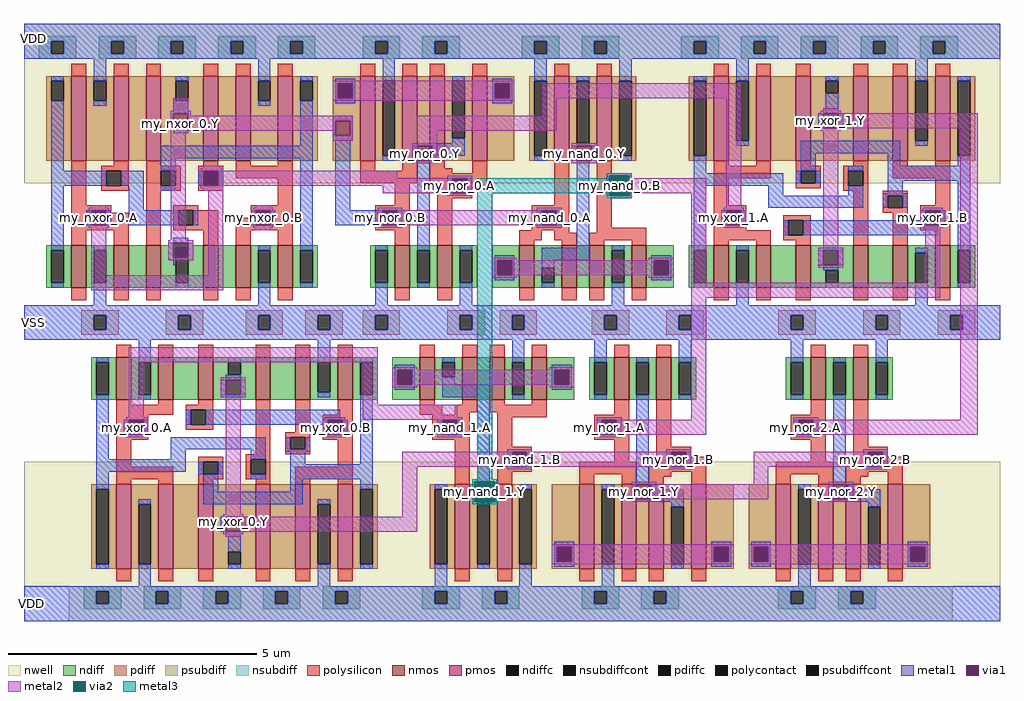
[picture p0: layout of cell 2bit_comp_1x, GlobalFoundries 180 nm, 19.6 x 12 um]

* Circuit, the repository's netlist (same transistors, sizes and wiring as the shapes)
* NGSPICE file created from 2bit_comp_1x.ext - technology: gf180mcuD

.subckt x2bit_comp_1x VDD VSS B0 A0 B1 A1 L G E
X0 my_xor_0.Y a_700_n970# a_600_n920# VDD pfet_03v3 ad=0.7225p pd=2.55u as=0.425p ps=2.2u w=1.7u l=0.3u
X1 a_2910_n920# E G VDD pfet_03v3 ad=0.935p pd=4.5u as=0.4675p ps=2.25u w=1.7u l=0.3u
X2 VDD my_nxor_0.Y a_1240_720# VDD pfet_03v3 ad=0.4675p pd=2.25u as=0.935p ps=4.5u w=1.7u l=0.3u
X3 my_nand_0.Y my_nxor_0.Y a_1880_210# VSS nfet_03v3 ad=0.23375p pd=1.4u as=0.4675p ps=2.8u w=0.85u l=0.3u
X4 VSS a_3100_610# a_3390_210# VSS nfet_03v3 ad=0.23375p pd=1.4u as=0.2125p ps=1.35u w=0.85u l=0.3u
X5 VDD my_nand_0.B my_nand_0.Y VDD pfet_03v3 ad=0.85p pd=4.4u as=0.4675p ps=2.25u w=1.7u l=0.3u
X6 a_3390_720# a_2670_210# L VDD pfet_03v3 ad=0.425p pd=2.2u as=0.7225p ps=2.55u w=1.7u l=0.3u
X7 a_3000_210# my_nor_0.Y VSS VSS nfet_03v3 ad=0.2125p pd=1.35u as=0.23375p ps=1.4u w=0.85u l=0.3u
X8 VDD my_xor_0.Y my_nand_0.B VDD pfet_03v3 ad=0.85p pd=4.4u as=0.4675p ps=2.25u w=1.7u l=0.3u
X9 VDD my_nor_0.Y a_2670_210# VDD pfet_03v3 ad=0.4675p pd=2.25u as=0.85p ps=4.4u w=1.7u l=0.3u
X10 VSS a_700_n970# a_990_n240# VSS nfet_03v3 ad=0.23375p pd=1.4u as=0.2125p ps=1.35u w=0.85u l=0.3u
X11 a_3250_n920# L VDD VDD pfet_03v3 ad=0.2125p pd=1.95u as=0.4675p ps=2.25u w=1.7u l=0.3u
X12 a_990_n240# a_270_n920# my_xor_0.Y VSS nfet_03v3 ad=0.2125p pd=1.35u as=0.36125p ps=1.7u w=0.85u l=0.3u
X13 a_1580_720# my_nxor_0.Y VDD VDD pfet_03v3 ad=0.2125p pd=1.95u as=0.4675p ps=2.25u w=1.7u l=0.3u
X14 a_2460_n920# my_nand_0.B VDD VDD pfet_03v3 ad=0.2125p pd=1.95u as=0.4675p ps=2.25u w=1.7u l=0.3u
X15 VDD my_nand_0.B a_3390_720# VDD pfet_03v3 ad=0.4675p pd=2.25u as=0.425p ps=2.2u w=1.7u l=0.3u
X16 a_3100_610# my_nand_0.B VSS VSS nfet_03v3 ad=0.425p pd=2.7u as=0.23375p ps=1.4u w=0.85u l=0.3u
X17 a_3000_720# my_nor_0.Y VDD VDD pfet_03v3 ad=0.425p pd=2.2u as=0.4675p ps=2.25u w=1.7u l=0.3u
X18 L my_nand_0.B a_3000_210# VSS nfet_03v3 ad=0.36125p pd=1.7u as=0.2125p ps=1.35u w=0.85u l=0.3u
X19 VSS A1 a_780_210# VSS nfet_03v3 ad=0.23375p pd=1.4u as=0.14875p ps=1.2u w=0.85u l=0.3u
X20 a_1820_n240# B0 my_nand_0.B VSS nfet_03v3 ad=0.10625p pd=1.1u as=0.23375p ps=1.4u w=0.85u l=0.3u
X21 VSS my_xor_0.Y E VSS nfet_03v3 ad=0.425p pd=2.7u as=0.23375p ps=1.4u w=0.85u l=0.3u
X22 a_600_n920# B0 VDD VDD pfet_03v3 ad=0.425p pd=2.2u as=0.4675p ps=2.25u w=1.7u l=0.3u
X23 a_2120_n920# my_xor_0.Y E VDD pfet_03v3 ad=0.935p pd=4.5u as=0.4675p ps=2.25u w=1.7u l=0.3u
X24 VSS B1 a_90_210# VSS nfet_03v3 ad=0.23375p pd=1.4u as=0.425p ps=2.7u w=0.85u l=0.3u
X25 a_780_210# a_90_210# my_nxor_0.Y VSS nfet_03v3 ad=0.14875p pd=1.2u as=0.37375p ps=1.75u w=0.85u l=0.3u
X26 G E a_3250_n920# VDD pfet_03v3 ad=0.4675p pd=2.25u as=0.2125p ps=1.95u w=1.7u l=0.3u
X27 a_3100_610# my_nand_0.B VDD VDD pfet_03v3 ad=0.85p pd=4.4u as=0.4675p ps=2.25u w=1.7u l=0.3u
X28 VSS my_nand_0.B a_2220_210# VSS nfet_03v3 ad=0.23375p pd=1.4u as=0.10625p ps=1.1u w=0.85u l=0.3u
X29 VSS B0 a_270_n920# VSS nfet_03v3 ad=0.23375p pd=1.4u as=0.425p ps=2.7u w=0.85u l=0.3u
X30 VDD A1 a_780_720# VDD pfet_03v3 ad=0.4675p pd=2.25u as=0.2975p ps=2.05u w=1.7u l=0.3u
X31 L a_3100_610# a_3000_720# VDD pfet_03v3 ad=0.7225p pd=2.55u as=0.425p ps=2.2u w=1.7u l=0.3u
X32 my_nxor_0.Y a_490_160# a_420_210# VSS nfet_03v3 ad=0.37375p pd=1.75u as=0.14875p ps=1.2u w=0.85u l=0.3u
X33 VDD L a_2910_n920# VDD pfet_03v3 ad=0.4675p pd=2.25u as=0.935p ps=4.5u w=1.7u l=0.3u
X34 VDD B1 a_90_210# VDD pfet_03v3 ad=0.4675p pd=2.25u as=0.85p ps=4.4u w=1.7u l=0.3u
X35 a_780_720# B1 my_nxor_0.Y VDD pfet_03v3 ad=0.2975p pd=2.05u as=0.7225p ps=2.55u w=1.7u l=0.3u
X36 a_420_210# B1 VSS VSS nfet_03v3 ad=0.14875p pd=1.2u as=0.23375p ps=1.4u w=0.85u l=0.3u
X37 a_700_n970# A0 VSS VSS nfet_03v3 ad=0.425p pd=2.7u as=0.23375p ps=1.4u w=0.85u l=0.3u
X38 a_1480_n240# my_xor_0.Y VSS VSS nfet_03v3 ad=0.4675p pd=2.8u as=0.23375p ps=1.4u w=0.85u l=0.3u
X39 a_490_160# A1 VSS VSS nfet_03v3 ad=0.425p pd=2.7u as=0.23375p ps=1.4u w=0.85u l=0.3u
X40 my_nor_0.Y my_nxor_0.Y VSS VSS nfet_03v3 ad=0.23375p pd=1.4u as=0.425p ps=2.7u w=0.85u l=0.3u
X41 my_xor_0.Y A0 a_600_n240# VSS nfet_03v3 ad=0.36125p pd=1.7u as=0.2125p ps=1.35u w=0.85u l=0.3u
X42 a_1880_210# my_nand_0.B VSS VSS nfet_03v3 ad=0.4675p pd=2.8u as=0.23375p ps=1.4u w=0.85u l=0.3u
X43 G L VSS VSS nfet_03v3 ad=0.23375p pd=1.4u as=0.425p ps=2.7u w=0.85u l=0.3u
X44 VDD A0 a_990_n920# VDD pfet_03v3 ad=0.4675p pd=2.25u as=0.425p ps=2.2u w=1.7u l=0.3u
X45 my_nxor_0.Y a_490_160# a_420_720# VDD pfet_03v3 ad=0.7225p pd=2.55u as=0.2975p ps=2.05u w=1.7u l=0.3u
X46 a_990_n920# a_270_n920# my_xor_0.Y VDD pfet_03v3 ad=0.425p pd=2.2u as=0.7225p ps=2.55u w=1.7u l=0.3u
X47 my_nor_0.Y B1 a_1580_720# VDD pfet_03v3 ad=0.4675p pd=2.25u as=0.2125p ps=1.95u w=1.7u l=0.3u
X48 my_nand_0.B B0 VDD VDD pfet_03v3 ad=0.4675p pd=2.25u as=0.85p ps=4.4u w=1.7u l=0.3u
X49 E my_xor_0.Y a_2460_n920# VDD pfet_03v3 ad=0.4675p pd=2.25u as=0.2125p ps=1.95u w=1.7u l=0.3u
X50 a_420_720# a_90_210# VDD VDD pfet_03v3 ad=0.2975p pd=2.05u as=0.4675p ps=2.25u w=1.7u l=0.3u
X51 a_490_160# A1 VDD VDD pfet_03v3 ad=0.85p pd=4.4u as=0.4675p ps=2.25u w=1.7u l=0.3u
X52 VSS B1 my_nor_0.Y VSS nfet_03v3 ad=0.425p pd=2.7u as=0.23375p ps=1.4u w=0.85u l=0.3u
X53 VSS my_xor_0.Y a_1820_n240# VSS nfet_03v3 ad=0.23375p pd=1.4u as=0.10625p ps=1.1u w=0.85u l=0.3u
X54 VDD my_nand_0.B a_2120_n920# VDD pfet_03v3 ad=0.4675p pd=2.25u as=0.935p ps=4.5u w=1.7u l=0.3u
X55 a_1240_720# B1 my_nor_0.Y VDD pfet_03v3 ad=0.935p pd=4.5u as=0.4675p ps=2.25u w=1.7u l=0.3u
X56 a_600_n240# B0 VSS VSS nfet_03v3 ad=0.2125p pd=1.35u as=0.23375p ps=1.4u w=0.85u l=0.3u
X57 a_3390_210# a_2670_210# L VSS nfet_03v3 ad=0.2125p pd=1.35u as=0.36125p ps=1.7u w=0.85u l=0.3u
X58 my_nand_0.B B0 a_1480_n240# VSS nfet_03v3 ad=0.23375p pd=1.4u as=0.4675p ps=2.8u w=0.85u l=0.3u
X59 E my_nand_0.B VSS VSS nfet_03v3 ad=0.23375p pd=1.4u as=0.425p ps=2.7u w=0.85u l=0.3u
X60 VDD B0 a_270_n920# VDD pfet_03v3 ad=0.4675p pd=2.25u as=0.85p ps=4.4u w=1.7u l=0.3u
X61 my_nand_0.Y my_nxor_0.Y VDD VDD pfet_03v3 ad=0.4675p pd=2.25u as=0.85p ps=4.4u w=1.7u l=0.3u
X62 VSS my_nor_0.Y a_2670_210# VSS nfet_03v3 ad=0.23375p pd=1.4u as=0.425p ps=2.7u w=0.85u l=0.3u
X63 a_2220_210# my_nxor_0.Y my_nand_0.Y VSS nfet_03v3 ad=0.10625p pd=1.1u as=0.23375p ps=1.4u w=0.85u l=0.3u
X64 VSS E G VSS nfet_03v3 ad=0.425p pd=2.7u as=0.23375p ps=1.4u w=0.85u l=0.3u
X65 a_700_n970# A0 VDD VDD pfet_03v3 ad=0.85p pd=4.4u as=0.4675p ps=2.25u w=1.7u l=0.3u
.ends

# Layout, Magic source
magic
tech gf180mcuD
<< nwell >>
rect 0 63 392 127
rect 0 -99 392 -49
rect 18 -113 373 -99
<< nmos >>
rect 19 21 25 38
rect 36 21 42 38
rect 49 21 55 38
rect 72 21 78 38
rect 85 21 91 38
rect 102 21 108 38
rect 149 21 155 38
rect 166 21 172 38
rect 199 21 205 38
rect 216 21 222 38
rect 227 21 233 38
rect 244 21 250 38
rect 277 21 283 38
rect 294 21 300 38
rect 310 21 316 38
rect 333 21 339 38
rect 349 21 355 38
rect 366 21 372 38
rect 37 -24 43 -7
rect 54 -24 60 -7
rect 70 -24 76 -7
rect 93 -24 99 -7
rect 109 -24 115 -7
rect 126 -24 132 -7
rect 159 -24 165 -7
rect 176 -24 182 -7
rect 187 -24 193 -7
rect 204 -24 210 -7
rect 237 -24 243 -7
rect 254 -24 260 -7
rect 316 -24 322 -7
rect 333 -24 339 -7
<< pmos >>
rect 19 72 25 106
rect 36 72 42 106
rect 49 72 55 106
rect 72 72 78 106
rect 85 72 91 106
rect 102 72 108 106
rect 135 72 141 106
rect 152 72 158 106
rect 163 72 169 106
rect 180 72 186 106
rect 213 72 219 106
rect 230 72 236 106
rect 277 72 283 106
rect 294 72 300 106
rect 310 72 316 106
rect 333 72 339 106
rect 349 72 355 106
rect 366 72 372 106
rect 37 -92 43 -58
rect 54 -92 60 -58
rect 70 -92 76 -58
rect 93 -92 99 -58
rect 109 -92 115 -58
rect 126 -92 132 -58
rect 173 -92 179 -58
rect 190 -92 196 -58
rect 223 -92 229 -58
rect 240 -92 246 -58
rect 251 -92 257 -58
rect 268 -92 274 -58
rect 302 -92 308 -58
rect 319 -92 325 -58
rect 330 -92 336 -58
rect 347 -92 353 -58
<< ndiff >>
rect 58 38 68 39
rect 9 36 19 38
rect 9 23 11 36
rect 16 23 19 36
rect 9 21 19 23
rect 25 36 36 38
rect 25 23 28 36
rect 33 23 36 36
rect 25 21 36 23
rect 42 21 49 38
rect 55 37 72 38
rect 55 23 61 37
rect 66 23 72 37
rect 55 21 72 23
rect 78 21 85 38
rect 91 36 102 38
rect 91 23 94 36
rect 99 23 102 36
rect 91 21 102 23
rect 108 36 118 38
rect 108 23 111 36
rect 116 23 118 36
rect 108 21 118 23
rect 139 36 149 38
rect 139 23 141 36
rect 146 23 149 36
rect 139 21 149 23
rect 155 36 166 38
rect 155 23 158 36
rect 163 23 166 36
rect 155 21 166 23
rect 172 36 182 38
rect 172 23 175 36
rect 180 23 182 36
rect 172 21 182 23
rect 188 32 199 38
rect 188 26 190 32
rect 196 26 199 32
rect 188 21 199 26
rect 205 29 216 38
rect 205 23 208 29
rect 213 23 216 29
rect 205 21 216 23
rect 222 21 227 38
rect 233 36 244 38
rect 233 23 236 36
rect 241 23 244 36
rect 233 21 244 23
rect 250 32 261 38
rect 250 26 253 32
rect 259 26 261 32
rect 250 21 261 26
rect 267 36 277 38
rect 267 23 269 36
rect 274 23 277 36
rect 267 21 277 23
rect 283 36 294 38
rect 283 23 286 36
rect 291 23 294 36
rect 283 21 294 23
rect 300 21 310 38
rect 316 28 333 38
rect 316 23 322 28
rect 327 23 333 28
rect 316 21 333 23
rect 339 21 349 38
rect 355 35 366 38
rect 355 23 358 35
rect 363 23 366 35
rect 355 21 366 23
rect 372 36 382 38
rect 372 23 375 36
rect 380 23 382 36
rect 372 21 382 23
rect 27 -9 37 -7
rect 27 -22 29 -9
rect 34 -22 37 -9
rect 27 -24 37 -22
rect 43 -9 54 -7
rect 43 -22 46 -9
rect 51 -22 54 -9
rect 43 -24 54 -22
rect 60 -24 70 -7
rect 76 -9 93 -7
rect 76 -14 82 -9
rect 87 -14 93 -9
rect 76 -24 93 -14
rect 99 -24 109 -7
rect 115 -9 126 -7
rect 115 -21 118 -9
rect 123 -21 126 -9
rect 115 -24 126 -21
rect 132 -9 142 -7
rect 132 -22 135 -9
rect 140 -22 142 -9
rect 132 -24 142 -22
rect 148 -12 159 -7
rect 148 -18 150 -12
rect 156 -18 159 -12
rect 148 -24 159 -18
rect 165 -9 176 -7
rect 165 -15 168 -9
rect 173 -15 176 -9
rect 165 -24 176 -15
rect 182 -24 187 -7
rect 193 -9 204 -7
rect 193 -22 196 -9
rect 201 -22 204 -9
rect 193 -24 204 -22
rect 210 -12 221 -7
rect 210 -18 213 -12
rect 219 -18 221 -12
rect 210 -24 221 -18
rect 227 -9 237 -7
rect 227 -22 229 -9
rect 234 -22 237 -9
rect 227 -24 237 -22
rect 243 -9 254 -7
rect 243 -22 246 -9
rect 251 -22 254 -9
rect 243 -24 254 -22
rect 260 -9 270 -7
rect 260 -22 263 -9
rect 268 -22 270 -9
rect 260 -24 270 -22
rect 306 -9 316 -7
rect 306 -22 308 -9
rect 313 -22 316 -9
rect 306 -24 316 -22
rect 322 -9 333 -7
rect 322 -22 325 -9
rect 330 -22 333 -9
rect 322 -24 333 -22
rect 339 -9 349 -7
rect 339 -22 342 -9
rect 347 -22 349 -9
rect 339 -24 349 -22
<< pdiff >>
rect 9 104 19 106
rect 9 96 11 104
rect 16 96 19 104
rect 9 72 19 96
rect 25 104 36 106
rect 25 96 28 104
rect 33 96 36 104
rect 25 72 36 96
rect 42 72 49 106
rect 55 104 72 106
rect 55 96 61 104
rect 66 96 72 104
rect 55 72 72 96
rect 78 72 85 106
rect 91 104 102 106
rect 91 96 94 104
rect 99 96 102 104
rect 91 72 102 96
rect 108 104 118 106
rect 108 96 111 104
rect 116 96 118 104
rect 108 72 118 96
rect 124 103 135 106
rect 124 97 126 103
rect 132 97 135 103
rect 124 72 135 97
rect 141 104 152 106
rect 141 74 144 104
rect 149 74 152 104
rect 141 72 152 74
rect 158 72 163 106
rect 169 104 180 106
rect 169 81 172 104
rect 177 81 180 104
rect 169 72 180 81
rect 186 103 197 106
rect 186 97 189 103
rect 195 97 197 103
rect 186 72 197 97
rect 203 104 213 106
rect 203 74 205 104
rect 210 74 213 104
rect 203 72 213 74
rect 219 104 230 106
rect 219 79 222 104
rect 227 79 230 104
rect 219 72 230 79
rect 236 104 246 106
rect 236 74 239 104
rect 244 74 246 104
rect 236 72 246 74
rect 267 104 277 106
rect 267 74 269 104
rect 274 74 277 104
rect 267 72 277 74
rect 283 104 294 106
rect 283 80 286 104
rect 291 80 294 104
rect 283 72 294 80
rect 300 72 310 106
rect 316 104 333 106
rect 316 99 322 104
rect 327 99 333 104
rect 316 72 333 99
rect 339 72 349 106
rect 355 104 366 106
rect 355 80 358 104
rect 363 80 366 104
rect 355 72 366 80
rect 372 104 382 106
rect 372 74 375 104
rect 380 74 382 104
rect 372 72 382 74
rect 27 -60 37 -58
rect 27 -90 29 -60
rect 34 -90 37 -60
rect 27 -92 37 -90
rect 43 -66 54 -58
rect 43 -90 46 -66
rect 51 -90 54 -66
rect 43 -92 54 -90
rect 60 -92 70 -58
rect 76 -85 93 -58
rect 76 -90 82 -85
rect 87 -90 93 -85
rect 76 -92 93 -90
rect 99 -92 109 -58
rect 115 -66 126 -58
rect 115 -90 118 -66
rect 123 -90 126 -66
rect 115 -92 126 -90
rect 132 -60 142 -58
rect 132 -90 135 -60
rect 140 -90 142 -60
rect 132 -92 142 -90
rect 163 -60 173 -58
rect 163 -90 165 -60
rect 170 -90 173 -60
rect 163 -92 173 -90
rect 179 -65 190 -58
rect 179 -90 182 -65
rect 187 -90 190 -65
rect 179 -92 190 -90
rect 196 -60 206 -58
rect 196 -90 199 -60
rect 204 -90 206 -60
rect 196 -92 206 -90
rect 212 -83 223 -58
rect 212 -89 214 -83
rect 220 -89 223 -83
rect 212 -92 223 -89
rect 229 -60 240 -58
rect 229 -90 232 -60
rect 237 -90 240 -60
rect 229 -92 240 -90
rect 246 -92 251 -58
rect 257 -67 268 -58
rect 257 -90 260 -67
rect 265 -90 268 -67
rect 257 -92 268 -90
rect 274 -83 285 -58
rect 274 -89 277 -83
rect 283 -89 285 -83
rect 274 -92 285 -89
rect 291 -83 302 -58
rect 291 -89 293 -83
rect 299 -89 302 -83
rect 291 -92 302 -89
rect 308 -60 319 -58
rect 308 -90 311 -60
rect 316 -90 319 -60
rect 308 -92 319 -90
rect 325 -92 330 -58
rect 336 -67 347 -58
rect 336 -90 339 -67
rect 344 -90 347 -67
rect 336 -92 347 -90
rect 353 -83 364 -58
rect 353 -89 356 -83
rect 362 -89 364 -83
rect 353 -92 364 -89
<< ndiffc >>
rect 11 23 16 36
rect 28 23 33 36
rect 61 23 66 37
rect 94 23 99 36
rect 111 23 116 36
rect 141 23 146 36
rect 158 23 163 36
rect 175 23 180 36
rect 190 26 196 32
rect 208 23 213 29
rect 236 23 241 36
rect 253 26 259 32
rect 269 23 274 36
rect 286 23 291 36
rect 322 23 327 28
rect 358 23 363 35
rect 375 23 380 36
rect 29 -22 34 -9
rect 46 -22 51 -9
rect 82 -14 87 -9
rect 118 -21 123 -9
rect 135 -22 140 -9
rect 150 -18 156 -12
rect 168 -15 173 -9
rect 196 -22 201 -9
rect 213 -18 219 -12
rect 229 -22 234 -9
rect 246 -22 251 -9
rect 263 -22 268 -9
rect 308 -22 313 -9
rect 325 -22 330 -9
rect 342 -22 347 -9
<< pdiffc >>
rect 11 96 16 104
rect 28 96 33 104
rect 61 96 66 104
rect 94 96 99 104
rect 111 96 116 104
rect 126 97 132 103
rect 144 74 149 104
rect 172 81 177 104
rect 189 97 195 103
rect 205 74 210 104
rect 222 79 227 104
rect 239 74 244 104
rect 269 74 274 104
rect 286 80 291 104
rect 322 99 327 104
rect 358 80 363 104
rect 375 74 380 104
rect 29 -90 34 -60
rect 46 -90 51 -66
rect 82 -90 87 -85
rect 118 -90 123 -66
rect 135 -90 140 -60
rect 165 -90 170 -60
rect 182 -90 187 -65
rect 199 -90 204 -60
rect 214 -89 220 -83
rect 232 -90 237 -60
rect 260 -90 265 -67
rect 277 -89 283 -83
rect 293 -89 299 -83
rect 311 -90 316 -60
rect 339 -90 344 -67
rect 356 -89 362 -83
<< psubdiff >>
rect 23 10 38 12
rect 23 4 28 10
rect 33 4 38 10
rect 23 2 38 4
rect 57 10 72 12
rect 57 4 62 10
rect 67 4 72 10
rect 57 2 72 4
rect 89 10 104 12
rect 89 4 94 10
rect 99 4 104 10
rect 89 2 104 4
rect 113 10 128 12
rect 113 4 118 10
rect 123 4 128 10
rect 113 2 128 4
rect 136 10 151 12
rect 136 4 141 10
rect 146 4 151 10
rect 136 2 151 4
rect 170 10 185 12
rect 170 4 175 10
rect 180 4 185 10
rect 170 2 185 4
rect 191 10 206 12
rect 191 4 196 10
rect 201 4 206 10
rect 191 2 206 4
rect 228 10 243 12
rect 228 4 233 10
rect 238 4 243 10
rect 228 2 243 4
rect 258 10 273 12
rect 258 4 263 10
rect 268 4 273 10
rect 258 2 273 4
rect 303 10 318 12
rect 303 4 308 10
rect 313 4 318 10
rect 303 2 318 4
rect 337 10 352 12
rect 337 4 342 10
rect 347 4 352 10
rect 337 2 352 4
rect 367 10 382 12
rect 367 4 372 10
rect 377 4 382 10
rect 367 2 382 4
<< nsubdiff >>
rect 6 120 21 122
rect 6 115 11 120
rect 16 115 21 120
rect 6 113 21 115
rect 30 120 45 122
rect 30 115 35 120
rect 40 115 45 120
rect 30 113 45 115
rect 54 120 69 122
rect 54 115 59 120
rect 64 115 69 120
rect 54 113 69 115
rect 78 120 93 122
rect 78 115 83 120
rect 88 115 93 120
rect 78 113 93 115
rect 102 120 117 122
rect 102 115 107 120
rect 112 115 117 120
rect 102 113 117 115
rect 136 120 151 122
rect 136 115 141 120
rect 146 115 151 120
rect 136 113 151 115
rect 160 120 175 122
rect 160 115 165 120
rect 170 115 175 120
rect 160 113 175 115
rect 200 120 215 122
rect 200 115 205 120
rect 210 115 215 120
rect 200 113 215 115
rect 224 120 239 122
rect 224 115 229 120
rect 234 115 239 120
rect 224 113 239 115
rect 264 120 279 122
rect 264 115 269 120
rect 274 115 279 120
rect 264 113 279 115
rect 288 120 303 122
rect 288 115 293 120
rect 298 115 303 120
rect 288 113 303 115
rect 312 120 327 122
rect 312 115 317 120
rect 322 115 327 120
rect 312 113 327 115
rect 336 120 351 122
rect 336 115 341 120
rect 346 115 351 120
rect 336 113 351 115
rect 360 120 375 122
rect 360 115 365 120
rect 370 115 375 120
rect 360 113 375 115
rect 24 -101 39 -99
rect 24 -106 29 -101
rect 34 -106 39 -101
rect 24 -108 39 -106
rect 48 -101 63 -99
rect 48 -106 53 -101
rect 58 -106 63 -101
rect 48 -108 63 -106
rect 72 -101 87 -99
rect 72 -106 77 -101
rect 82 -106 87 -101
rect 72 -108 87 -106
rect 96 -101 111 -99
rect 96 -106 101 -101
rect 106 -106 111 -101
rect 96 -108 111 -106
rect 120 -101 135 -99
rect 120 -106 125 -101
rect 130 -106 135 -101
rect 120 -108 135 -106
rect 160 -101 175 -99
rect 160 -106 165 -101
rect 170 -106 175 -101
rect 160 -108 175 -106
rect 184 -101 199 -99
rect 184 -106 189 -101
rect 194 -106 199 -101
rect 184 -108 199 -106
rect 224 -101 239 -99
rect 224 -106 229 -101
rect 234 -106 239 -101
rect 224 -108 239 -106
rect 248 -101 263 -99
rect 248 -106 253 -101
rect 258 -106 263 -101
rect 248 -108 263 -106
rect 303 -101 318 -99
rect 303 -106 308 -101
rect 313 -106 318 -101
rect 303 -108 318 -106
rect 327 -101 342 -99
rect 327 -106 332 -101
rect 337 -106 342 -101
rect 327 -108 342 -106
<< psubdiffcont >>
rect 28 4 33 10
rect 62 4 67 10
rect 94 4 99 10
rect 118 4 123 10
rect 141 4 146 10
rect 175 4 180 10
rect 196 4 201 10
rect 233 4 238 10
rect 263 4 268 10
rect 308 4 313 10
rect 342 4 347 10
rect 372 4 377 10
<< nsubdiffcont >>
rect 11 115 16 120
rect 35 115 40 120
rect 59 115 64 120
rect 83 115 88 120
rect 107 115 112 120
rect 141 115 146 120
rect 165 115 170 120
rect 205 115 210 120
rect 229 115 234 120
rect 269 115 274 120
rect 293 115 298 120
rect 317 115 322 120
rect 341 115 346 120
rect 365 115 370 120
rect 29 -106 34 -101
rect 53 -106 58 -101
rect 77 -106 82 -101
rect 101 -106 106 -101
rect 125 -106 130 -101
rect 165 -106 170 -101
rect 189 -106 194 -101
rect 229 -106 234 -101
rect 253 -106 258 -101
rect 308 -106 313 -101
rect 332 -106 337 -101
<< polysilicon >>
rect 19 106 25 111
rect 36 106 42 111
rect 49 106 55 111
rect 72 106 78 111
rect 85 106 91 111
rect 102 106 108 111
rect 135 106 141 111
rect 152 106 158 111
rect 163 106 169 111
rect 180 106 186 111
rect 213 106 219 111
rect 230 106 236 111
rect 277 106 283 111
rect 294 106 300 111
rect 310 106 316 111
rect 333 106 339 111
rect 349 106 355 111
rect 366 106 372 111
rect 19 54 25 72
rect 36 70 42 72
rect 31 68 42 70
rect 31 62 33 68
rect 39 62 42 68
rect 31 60 42 62
rect 49 70 55 72
rect 72 70 78 72
rect 85 70 91 72
rect 102 70 108 72
rect 49 68 63 70
rect 49 62 55 68
rect 61 62 63 68
rect 49 60 63 62
rect 70 68 80 70
rect 70 62 72 68
rect 78 62 80 68
rect 85 65 108 70
rect 70 60 80 62
rect 19 52 35 54
rect 19 46 27 52
rect 33 51 35 52
rect 33 46 42 51
rect 19 44 42 46
rect 19 38 25 44
rect 36 38 42 44
rect 49 38 55 60
rect 102 54 108 65
rect 135 68 141 72
rect 152 68 158 72
rect 135 63 158 68
rect 163 69 169 72
rect 163 67 172 69
rect 180 67 186 72
rect 163 65 186 67
rect 163 63 172 65
rect 149 54 155 63
rect 60 52 70 54
rect 91 52 108 54
rect 60 46 62 52
rect 68 46 78 52
rect 91 49 93 52
rect 60 44 78 46
rect 72 38 78 44
rect 85 46 93 49
rect 99 46 108 52
rect 85 44 108 46
rect 141 52 155 54
rect 141 46 144 52
rect 150 46 155 52
rect 141 44 155 46
rect 85 38 91 44
rect 102 38 108 44
rect 149 38 155 44
rect 166 59 172 63
rect 178 61 186 65
rect 178 59 180 61
rect 166 57 180 59
rect 166 38 172 57
rect 213 54 219 72
rect 204 52 219 54
rect 204 46 208 52
rect 214 46 219 52
rect 204 44 219 46
rect 199 40 208 44
rect 213 43 219 44
rect 230 67 236 72
rect 277 70 283 72
rect 294 70 300 72
rect 230 65 244 67
rect 230 59 236 65
rect 242 59 244 65
rect 230 57 244 59
rect 277 65 300 70
rect 310 70 316 72
rect 333 70 339 72
rect 310 68 320 70
rect 230 45 236 57
rect 277 54 283 65
rect 310 63 312 68
rect 318 63 320 68
rect 310 61 320 63
rect 329 68 339 70
rect 329 62 331 68
rect 337 62 339 68
rect 349 70 355 72
rect 366 70 372 72
rect 349 65 372 70
rect 329 60 339 62
rect 277 52 290 54
rect 277 46 282 52
rect 288 46 290 52
rect 230 43 250 45
rect 213 40 222 43
rect 199 38 205 40
rect 216 38 222 40
rect 227 40 250 43
rect 227 38 233 40
rect 244 38 250 40
rect 277 44 290 46
rect 305 48 316 50
rect 277 40 300 44
rect 305 42 307 48
rect 313 42 316 48
rect 305 40 316 42
rect 277 38 283 40
rect 294 38 300 40
rect 310 38 316 40
rect 333 38 339 60
rect 345 58 355 60
rect 345 53 347 58
rect 353 53 355 58
rect 366 54 372 65
rect 345 51 355 53
rect 349 38 355 51
rect 360 52 372 54
rect 360 46 362 52
rect 368 46 372 52
rect 360 44 372 46
rect 366 38 372 44
rect 19 16 25 21
rect 36 16 42 21
rect 49 16 55 21
rect 72 16 78 21
rect 85 16 91 21
rect 102 16 108 21
rect 149 16 155 21
rect 166 16 172 21
rect 199 16 205 21
rect 216 16 222 21
rect 227 16 233 21
rect 244 16 250 21
rect 277 16 283 21
rect 294 16 300 21
rect 310 16 316 21
rect 333 16 339 21
rect 349 16 355 21
rect 366 16 372 21
rect 37 -7 43 -2
rect 54 -7 60 -2
rect 70 -7 76 -2
rect 93 -7 99 -2
rect 109 -7 115 -2
rect 126 -7 132 -2
rect 159 -7 165 -2
rect 176 -7 182 -2
rect 187 -7 193 -2
rect 204 -7 210 -2
rect 237 -7 243 -2
rect 254 -7 260 -2
rect 316 -7 322 -2
rect 333 -7 339 -2
rect 37 -26 43 -24
rect 54 -26 60 -24
rect 70 -26 76 -24
rect 37 -30 60 -26
rect 65 -28 76 -26
rect 37 -32 50 -30
rect 37 -38 42 -32
rect 48 -38 50 -32
rect 65 -34 67 -28
rect 73 -34 76 -28
rect 65 -36 76 -34
rect 37 -40 50 -38
rect 37 -51 43 -40
rect 93 -46 99 -24
rect 109 -37 115 -24
rect 126 -30 132 -24
rect 159 -26 165 -24
rect 176 -26 182 -24
rect 159 -30 168 -26
rect 173 -29 182 -26
rect 187 -26 193 -24
rect 204 -26 210 -24
rect 187 -29 210 -26
rect 173 -30 179 -29
rect 105 -39 115 -37
rect 105 -44 107 -39
rect 113 -44 115 -39
rect 120 -32 132 -30
rect 120 -38 122 -32
rect 128 -38 132 -32
rect 120 -40 132 -38
rect 164 -32 179 -30
rect 164 -38 168 -32
rect 174 -38 179 -32
rect 164 -40 179 -38
rect 105 -46 115 -44
rect 70 -49 80 -47
rect 37 -56 60 -51
rect 37 -58 43 -56
rect 54 -58 60 -56
rect 70 -54 72 -49
rect 78 -54 80 -49
rect 70 -56 80 -54
rect 89 -48 99 -46
rect 89 -54 91 -48
rect 97 -54 99 -48
rect 126 -51 132 -40
rect 89 -56 99 -54
rect 70 -58 76 -56
rect 93 -58 99 -56
rect 109 -56 132 -51
rect 109 -58 115 -56
rect 126 -58 132 -56
rect 173 -58 179 -40
rect 190 -31 210 -29
rect 237 -30 243 -24
rect 190 -43 196 -31
rect 229 -32 243 -30
rect 229 -38 232 -32
rect 238 -38 243 -32
rect 229 -40 243 -38
rect 190 -45 204 -43
rect 190 -51 196 -45
rect 202 -51 204 -45
rect 237 -49 243 -40
rect 254 -43 260 -24
rect 316 -30 322 -24
rect 308 -32 322 -30
rect 308 -38 311 -32
rect 317 -38 322 -32
rect 308 -40 322 -38
rect 254 -45 268 -43
rect 254 -49 260 -45
rect 190 -53 204 -51
rect 190 -58 196 -53
rect 223 -54 246 -49
rect 223 -58 229 -54
rect 240 -58 246 -54
rect 251 -51 260 -49
rect 266 -47 268 -45
rect 266 -51 274 -47
rect 316 -49 322 -40
rect 333 -43 339 -24
rect 333 -45 347 -43
rect 333 -49 339 -45
rect 251 -53 274 -51
rect 251 -55 260 -53
rect 251 -58 257 -55
rect 268 -58 274 -53
rect 302 -54 325 -49
rect 302 -58 308 -54
rect 319 -58 325 -54
rect 330 -51 339 -49
rect 345 -47 347 -45
rect 345 -51 353 -47
rect 330 -53 353 -51
rect 330 -55 339 -53
rect 330 -58 336 -55
rect 347 -58 353 -53
rect 37 -97 43 -92
rect 54 -97 60 -92
rect 70 -97 76 -92
rect 93 -97 99 -92
rect 109 -97 115 -92
rect 126 -97 132 -92
rect 173 -97 179 -92
rect 190 -97 196 -92
rect 223 -97 229 -92
rect 240 -97 246 -92
rect 251 -97 257 -92
rect 268 -97 274 -92
rect 302 -97 308 -92
rect 319 -97 325 -92
rect 330 -97 336 -92
rect 347 -97 353 -92
<< polycontact >>
rect 33 62 39 68
rect 55 62 61 68
rect 72 62 78 68
rect 27 46 33 52
rect 62 46 68 52
rect 93 46 99 52
rect 144 46 150 52
rect 172 59 178 65
rect 208 46 214 52
rect 236 59 242 65
rect 312 63 318 68
rect 331 62 337 68
rect 282 46 288 52
rect 307 42 313 48
rect 347 53 353 58
rect 362 46 368 52
rect 42 -38 48 -32
rect 67 -34 73 -28
rect 107 -44 113 -39
rect 122 -38 128 -32
rect 168 -38 174 -32
rect 72 -54 78 -49
rect 91 -54 97 -48
rect 232 -38 238 -32
rect 196 -51 202 -45
rect 311 -38 317 -32
rect 260 -51 266 -45
rect 339 -51 345 -45
<< metal1 >>
rect 0 120 392 127
rect 0 115 11 120
rect 16 115 35 120
rect 40 115 59 120
rect 64 115 83 120
rect 88 115 107 120
rect 112 115 141 120
rect 146 115 165 120
rect 170 115 205 120
rect 210 115 229 120
rect 234 115 269 120
rect 274 115 293 120
rect 298 115 317 120
rect 322 115 341 120
rect 346 115 365 120
rect 370 115 392 120
rect 0 113 392 115
rect 11 104 16 106
rect 11 68 16 96
rect 28 104 33 113
rect 61 104 66 106
rect 28 94 33 96
rect 60 96 61 97
rect 60 91 66 96
rect 94 104 99 113
rect 94 94 99 96
rect 111 104 116 106
rect 60 83 66 85
rect 111 78 116 96
rect 125 103 133 105
rect 125 97 126 103
rect 132 97 133 103
rect 125 95 133 97
rect 144 104 149 113
rect 124 88 132 90
rect 124 82 125 88
rect 131 82 132 88
rect 124 80 132 82
rect 55 73 116 78
rect 55 68 61 73
rect 11 62 33 68
rect 39 62 48 68
rect 11 36 16 62
rect 42 52 48 62
rect 70 62 72 68
rect 78 62 80 68
rect 55 60 61 62
rect 25 46 27 52
rect 33 46 35 52
rect 42 46 62 52
rect 68 46 70 52
rect 91 46 93 52
rect 99 46 101 52
rect 60 39 66 41
rect 11 21 16 23
rect 28 36 33 38
rect 60 30 61 33
rect 28 14 33 23
rect 61 21 66 23
rect 94 36 99 38
rect 94 14 99 23
rect 111 36 116 73
rect 125 52 131 80
rect 172 104 177 106
rect 188 103 196 105
rect 188 97 189 103
rect 195 97 196 103
rect 188 95 196 97
rect 205 104 210 113
rect 172 79 177 81
rect 158 78 177 79
rect 144 72 149 74
rect 156 72 158 78
rect 164 74 177 78
rect 222 104 227 106
rect 222 78 227 79
rect 239 104 244 113
rect 164 72 166 74
rect 205 72 210 74
rect 220 72 222 78
rect 228 72 230 78
rect 239 72 244 74
rect 269 104 274 106
rect 286 104 291 113
rect 322 104 327 106
rect 322 93 327 99
rect 321 91 327 93
rect 358 104 363 113
rect 319 85 321 91
rect 327 85 329 91
rect 286 78 291 80
rect 125 46 144 52
rect 150 46 152 52
rect 111 21 116 23
rect 141 36 146 38
rect 141 14 146 23
rect 158 36 163 72
rect 170 59 172 65
rect 178 59 180 65
rect 206 46 208 52
rect 214 46 216 52
rect 158 21 163 23
rect 175 36 180 38
rect 222 37 227 72
rect 269 67 274 74
rect 312 75 352 80
rect 358 78 363 80
rect 375 104 380 106
rect 312 68 318 75
rect 347 70 352 75
rect 375 70 380 74
rect 331 68 337 70
rect 234 59 236 65
rect 242 59 244 65
rect 269 62 305 67
rect 310 63 312 68
rect 318 63 320 68
rect 189 32 197 34
rect 189 26 190 32
rect 196 26 197 32
rect 189 24 197 26
rect 208 32 227 37
rect 236 36 241 38
rect 208 29 213 32
rect 175 14 180 23
rect 208 21 213 23
rect 269 36 274 62
rect 299 58 305 62
rect 331 58 337 62
rect 347 64 380 70
rect 347 59 353 64
rect 299 53 337 58
rect 345 58 355 59
rect 345 53 347 58
rect 353 53 355 58
rect 280 46 282 52
rect 288 46 290 52
rect 360 48 362 52
rect 305 42 307 48
rect 313 46 362 48
rect 368 46 370 52
rect 313 42 367 46
rect 252 32 260 34
rect 252 26 253 32
rect 259 26 260 32
rect 252 24 260 26
rect 236 14 241 23
rect 269 21 274 23
rect 286 36 291 38
rect 321 36 327 37
rect 319 30 321 36
rect 327 30 329 36
rect 358 35 363 37
rect 321 28 327 30
rect 286 14 291 23
rect 322 21 327 23
rect 358 14 363 23
rect 375 36 380 64
rect 375 21 380 23
rect 0 10 392 14
rect 0 4 28 10
rect 33 4 62 10
rect 67 4 94 10
rect 99 4 118 10
rect 123 4 141 10
rect 146 4 175 10
rect 180 4 196 10
rect 201 4 233 10
rect 238 4 263 10
rect 268 4 308 10
rect 313 4 342 10
rect 347 4 372 10
rect 377 4 392 10
rect 0 0 392 4
rect 29 -9 34 -7
rect 29 -48 34 -22
rect 46 -9 51 0
rect 82 -9 87 -7
rect 81 -16 87 -14
rect 118 -9 123 0
rect 79 -22 81 -16
rect 87 -22 89 -16
rect 46 -24 51 -22
rect 81 -23 87 -22
rect 118 -23 123 -21
rect 135 -9 140 -7
rect 168 -9 173 -7
rect 149 -12 157 -10
rect 149 -18 150 -12
rect 156 -18 157 -12
rect 149 -20 157 -18
rect 168 -18 173 -15
rect 196 -9 201 0
rect 40 -38 42 -32
rect 48 -38 50 -32
rect 65 -34 67 -28
rect 73 -32 127 -28
rect 73 -34 122 -32
rect 120 -38 122 -34
rect 128 -38 130 -32
rect 59 -44 97 -39
rect 59 -48 65 -44
rect 29 -53 65 -48
rect 91 -48 97 -44
rect 105 -44 107 -39
rect 113 -44 115 -39
rect 105 -45 115 -44
rect 29 -60 34 -53
rect 70 -54 72 -49
rect 78 -54 80 -49
rect 72 -61 78 -54
rect 91 -56 97 -54
rect 107 -50 113 -45
rect 135 -50 140 -22
rect 168 -23 187 -18
rect 166 -38 168 -32
rect 174 -38 176 -32
rect 107 -56 140 -50
rect 107 -61 112 -56
rect 29 -92 34 -90
rect 46 -66 51 -64
rect 72 -66 112 -61
rect 135 -60 140 -56
rect 182 -58 187 -23
rect 229 -9 234 0
rect 212 -12 220 -10
rect 212 -18 213 -12
rect 219 -18 220 -12
rect 212 -20 220 -18
rect 196 -24 201 -22
rect 229 -24 234 -22
rect 246 -9 251 -7
rect 230 -38 232 -32
rect 238 -38 240 -32
rect 194 -51 196 -45
rect 202 -51 204 -45
rect 246 -58 251 -22
rect 263 -9 268 0
rect 263 -24 268 -22
rect 308 -9 313 0
rect 308 -24 313 -22
rect 325 -9 330 -7
rect 309 -38 311 -32
rect 317 -38 319 -32
rect 258 -51 260 -45
rect 266 -51 268 -45
rect 325 -58 330 -22
rect 342 -9 347 0
rect 342 -24 347 -22
rect 337 -51 339 -45
rect 345 -51 347 -45
rect 118 -66 123 -64
rect 79 -77 81 -71
rect 87 -77 89 -71
rect 81 -79 87 -77
rect 46 -99 51 -90
rect 82 -85 87 -79
rect 82 -92 87 -90
rect 118 -99 123 -90
rect 135 -92 140 -90
rect 165 -60 170 -58
rect 180 -64 182 -58
rect 188 -64 190 -58
rect 199 -60 204 -58
rect 165 -99 170 -90
rect 182 -65 187 -64
rect 182 -92 187 -90
rect 232 -60 237 -58
rect 199 -99 204 -90
rect 213 -83 221 -81
rect 213 -89 214 -83
rect 220 -89 221 -83
rect 213 -91 221 -89
rect 244 -64 246 -58
rect 252 -60 254 -58
rect 311 -60 316 -58
rect 252 -64 265 -60
rect 246 -65 265 -64
rect 232 -99 237 -90
rect 260 -67 265 -65
rect 260 -92 265 -90
rect 276 -83 284 -81
rect 276 -89 277 -83
rect 283 -89 284 -83
rect 276 -91 284 -89
rect 292 -83 300 -81
rect 292 -89 293 -83
rect 299 -89 300 -83
rect 292 -91 300 -89
rect 323 -64 325 -58
rect 331 -60 333 -58
rect 331 -64 344 -60
rect 325 -65 344 -64
rect 311 -99 316 -90
rect 339 -67 344 -65
rect 339 -92 344 -90
rect 355 -83 363 -81
rect 355 -89 356 -83
rect 362 -89 363 -83
rect 355 -91 363 -89
rect 0 -101 392 -99
rect 0 -106 29 -101
rect 34 -106 53 -101
rect 58 -106 77 -101
rect 82 -106 101 -101
rect 106 -106 125 -101
rect 130 -106 165 -101
rect 170 -106 189 -101
rect 194 -106 229 -101
rect 234 -106 253 -101
rect 258 -106 308 -101
rect 313 -106 332 -101
rect 337 -106 392 -101
rect 0 -113 392 -106
<< via1 >>
rect 60 85 66 91
rect 126 97 132 103
rect 125 82 131 88
rect 72 62 78 68
rect 27 46 33 52
rect 93 46 99 52
rect 60 37 66 39
rect 60 33 61 37
rect 61 33 66 37
rect 189 97 195 103
rect 158 72 164 78
rect 222 72 228 78
rect 321 85 327 91
rect 144 46 150 52
rect 172 59 178 65
rect 208 46 214 52
rect 236 59 242 65
rect 190 26 196 32
rect 282 46 288 52
rect 362 46 368 52
rect 253 26 259 32
rect 321 30 327 36
rect 81 -22 87 -16
rect 150 -18 156 -12
rect 42 -38 48 -32
rect 122 -38 128 -32
rect 168 -38 174 -32
rect 213 -18 219 -12
rect 232 -38 238 -32
rect 196 -51 202 -45
rect 311 -38 317 -32
rect 260 -51 266 -45
rect 339 -51 345 -45
rect 81 -77 87 -71
rect 182 -64 188 -58
rect 214 -89 220 -83
rect 246 -64 252 -58
rect 277 -89 283 -83
rect 293 -89 299 -83
rect 325 -64 331 -58
rect 356 -89 362 -83
<< metal2 >>
rect 124 103 197 104
rect 124 97 126 103
rect 132 97 189 103
rect 195 97 197 103
rect 60 92 66 97
rect 124 96 197 97
rect 208 97 288 103
rect 59 91 67 92
rect 59 85 60 91
rect 66 90 67 91
rect 208 90 214 97
rect 66 88 132 90
rect 66 85 125 88
rect 59 84 125 85
rect 59 83 66 84
rect 27 53 33 54
rect 26 52 34 53
rect 26 46 27 52
rect 33 46 34 52
rect 26 45 34 46
rect 27 26 33 45
rect 59 40 65 83
rect 124 82 125 84
rect 131 82 132 88
rect 124 80 132 82
rect 158 84 214 90
rect 158 79 166 84
rect 156 78 166 79
rect 156 72 158 78
rect 164 72 166 78
rect 156 71 166 72
rect 220 78 230 79
rect 220 72 222 78
rect 228 72 230 78
rect 220 71 230 72
rect 72 69 79 70
rect 71 68 80 69
rect 71 62 72 68
rect 78 65 150 68
rect 170 65 180 66
rect 78 62 172 65
rect 71 61 80 62
rect 72 60 80 61
rect 58 39 68 40
rect 58 33 60 39
rect 66 33 68 39
rect 58 32 68 33
rect 74 26 80 60
rect 144 59 172 62
rect 178 59 180 65
rect 170 58 180 59
rect 234 58 235 66
rect 243 65 244 66
rect 243 59 274 65
rect 243 58 244 59
rect 93 53 99 54
rect 92 52 100 53
rect 142 52 152 53
rect 206 52 216 53
rect 91 46 93 52
rect 99 46 101 52
rect 142 46 144 52
rect 150 46 208 52
rect 214 46 216 52
rect 92 45 100 46
rect 142 45 152 46
rect 206 45 216 46
rect 93 44 99 45
rect 27 20 80 26
rect 188 32 198 33
rect 251 32 261 33
rect 188 26 190 32
rect 196 26 253 32
rect 259 26 261 32
rect 188 25 198 26
rect 251 25 261 26
rect 268 23 274 59
rect 282 53 288 97
rect 321 92 327 93
rect 320 91 328 92
rect 320 85 321 91
rect 327 85 383 91
rect 320 84 328 85
rect 281 52 289 53
rect 280 46 282 52
rect 288 46 290 52
rect 281 45 289 46
rect 321 37 327 84
rect 361 52 369 53
rect 360 46 362 52
rect 368 46 370 52
rect 361 45 369 46
rect 319 36 329 37
rect 319 30 321 36
rect 327 30 329 36
rect 319 29 329 30
rect 362 23 368 45
rect 268 17 368 23
rect 42 -9 142 -3
rect 42 -31 48 -9
rect 79 -16 89 -15
rect 79 -22 81 -16
rect 87 -22 89 -16
rect 79 -23 89 -22
rect 41 -32 49 -31
rect 40 -38 42 -32
rect 48 -38 50 -32
rect 41 -39 49 -38
rect 81 -70 87 -23
rect 136 -26 142 -9
rect 148 -12 158 -11
rect 211 -12 221 -11
rect 148 -18 150 -12
rect 156 -18 213 -12
rect 219 -18 221 -12
rect 148 -19 158 -18
rect 211 -19 221 -18
rect 136 -31 174 -26
rect 121 -32 129 -31
rect 136 -32 176 -31
rect 120 -38 122 -32
rect 128 -38 130 -32
rect 166 -38 168 -32
rect 174 -38 176 -32
rect 121 -39 129 -38
rect 166 -39 176 -38
rect 230 -32 240 -31
rect 268 -32 274 17
rect 230 -38 232 -32
rect 238 -38 274 -32
rect 309 -32 319 -31
rect 376 -32 383 85
rect 309 -38 311 -32
rect 317 -38 383 -32
rect 230 -39 240 -38
rect 309 -39 319 -38
rect 194 -45 204 -44
rect 258 -45 268 -44
rect 337 -45 347 -44
rect 152 -51 196 -45
rect 202 -51 260 -45
rect 266 -51 268 -45
rect 80 -71 88 -70
rect 152 -71 158 -51
rect 194 -52 204 -51
rect 258 -52 268 -51
rect 293 -51 339 -45
rect 345 -51 347 -45
rect 180 -65 181 -57
rect 189 -65 190 -57
rect 244 -58 254 -57
rect 293 -58 299 -51
rect 337 -52 347 -51
rect 244 -64 246 -58
rect 252 -64 299 -58
rect 323 -58 333 -57
rect 323 -64 325 -58
rect 331 -64 333 -58
rect 244 -65 254 -64
rect 323 -65 333 -64
rect 80 -77 81 -71
rect 87 -77 158 -71
rect 80 -78 88 -77
rect 81 -79 87 -78
rect 212 -83 285 -82
rect 212 -89 214 -83
rect 220 -89 277 -83
rect 283 -89 285 -83
rect 212 -90 285 -89
rect 291 -83 364 -82
rect 291 -89 293 -83
rect 299 -89 356 -83
rect 362 -89 364 -83
rect 291 -90 364 -89
<< via2 >>
rect 235 65 243 66
rect 235 59 236 65
rect 236 59 242 65
rect 242 59 243 65
rect 235 58 243 59
rect 181 -58 189 -57
rect 181 -64 182 -58
rect 182 -64 188 -58
rect 188 -64 189 -58
rect 181 -65 189 -64
<< metal3 >>
rect 234 66 244 67
rect 234 65 235 66
rect 182 59 235 65
rect 182 -56 188 59
rect 234 58 235 59
rect 243 58 244 66
rect 234 57 244 58
rect 180 -57 190 -56
rect 180 -65 181 -57
rect 189 -65 190 -57
rect 180 -66 190 -65
<< labels >>
rlabel metal2 30 49 30 49 1 my_nxor_0.A
rlabel metal2 63 87 63 87 1 my_nxor_0.Y
rlabel metal2 96 49 96 49 1 my_nxor_0.B
rlabel via1 161 75 161 75 1 my_nor_0.Y
rlabel metal2 211 49 211 49 1 my_nand_0.A
rlabel via2 239 62 239 62 1 my_nand_0.B
rlabel metal2 225 75 225 75 1 my_nand_0.Y
rlabel via1 84 -73 84 -73 5 my_xor_0.Y
rlabel via1 125 -35 125 -35 5 my_xor_0.B
rlabel via1 45 -35 45 -35 5 my_xor_0.A
rlabel via1 235 -35 235 -35 1 my_nor_1.A
rlabel via1 263 -48 263 -48 1 my_nor_1.B
rlabel via1 249 -61 249 -61 1 my_nor_1.Y
rlabel via1 314 -35 314 -35 1 my_nor_2.A
rlabel via1 342 -48 342 -48 1 my_nor_2.B
rlabel via1 328 -61 328 -61 1 my_nor_2.Y
rlabel via1 285 49 285 49 1 my_xor_1.A
rlabel via1 365 49 365 49 1 my_xor_1.B
rlabel via1 324 88 324 88 1 my_xor_1.Y
rlabel via1 171 -35 171 -35 1 my_nand_1.A
rlabel via1 199 -48 199 -48 1 my_nand_1.B
rlabel via1 185 -61 185 -61 1 my_nand_1.Y
rlabel metal1 3 -106 3 -106 1 VDD
port 1 n power default
rlabel metal1 4 121 4 121 1 VDD
port 1 n power default
rlabel metal1 4 7 4 7 1 VSS
port 2 n ground default
rlabel via1 30 47 30 47 1 B1
port 5 n signal default
rlabel via1 96 47 96 47 1 A1
port 6 n signal default
rlabel via1 45 -34 45 -34 1 B0
port 3 n signal default
rlabel via1 125 -34 125 -34 1 A0
port 4 n signal default
rlabel via1 147 49 147 49 1 my_nor_0.B
rlabel via1 175 62 175 62 1 my_nor_0.A
rlabel via1 324 87 324 87 1 L
port 7 n signal default
rlabel via1 328 -63 328 -63 1 G
port 8 n signal default
rlabel via1 249 -63 249 -63 1 E
port 9 n signal default
<< end >>
